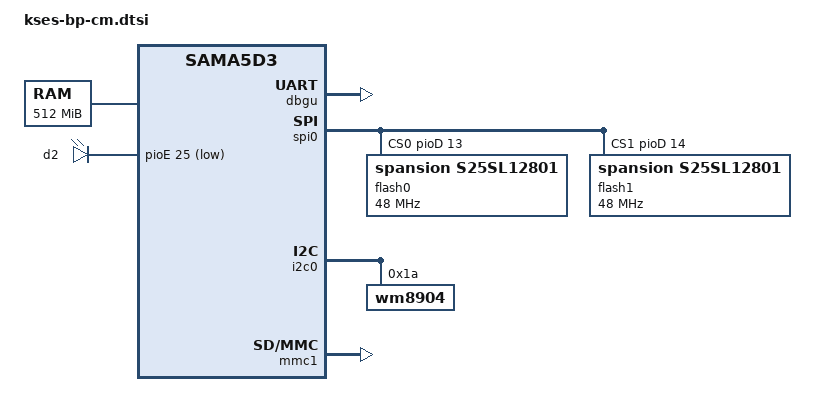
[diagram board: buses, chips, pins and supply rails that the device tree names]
/*
 * kses-bp-cm.dtsi - Device Tree Include file for KSES Bluepenguin CPU Module
 *
 *  Based sama5d3xcm.dtsi by Ludovic Desroches <ludovic.desroches@atmel.com>
 *
 *  Copyright (C) 2016 Keystone Electronic Solution,
 *                2016 John Eigelaar <john@kses.net>
 *
 * Licensed under GPLv2 or later.
 */

/ {
	compatible = "atmel,sama5d3", "atmel,sama5";

	chosen {
			bootargs = "console=ttyS0,115200 earlyprintk root=/dev/mmcblk0p1 rw rootfstype=ext4 root_type=ext4 root_opts=data=journal init=/sbin/init rescue=/dev/mtdblock1";
			stdout-path = "serial0:115200n8";
		};

	memory {
		reg = <0x20000000 0x20000000>;
	};

	clocks {
		slow_xtal {
			clock-frequency = <32768>;
		};

		main_xtal {
			clock-frequency = <12000000>;
		};
	};

	ahb {
		apb {
			dbgu: serial@ffffee00 {
				status = "okay";
			};

			watchdog@fffffe40 {
				status = "okay";
			};
			
			spi0: spi@f0004000 {
				cs-gpios = <&pioD 13 0>, <&pioD 14 0>, <0>, <0>;
				status = "okay";

				flash0: m25p80@0 {	
					#address-cells = <1>;
					#size-cells = <1>;
					compatible = "spansion,s25sl12801";
					spi-max-frequency = <48000000>;
					reg = <0>;
					};

				flash1: m25p80@1 {	
					#address-cells = <1>;
					#size-cells = <1>;
					compatible = "spansion,s25sl12801";
					spi-max-frequency = <48000000>;
					reg = <1>;
					};				
			};


			/*
			 * i2c0 conflicts with ISI:
			 * disable it to allow the use of ISI
			 * can not enable audio when i2c0 disabled
			 */
			i2c0: i2c@f0014000 {
				wm8904: wm8904@1a {
					compatible = "wm8904";
					reg = <0x1a>;
				};
			};

			pinctrl@fffff200 {
				board {
					pinctrl_mmc1_cd: mmc1_cd {
						atmel,pins =
							<1 18 0x0 0x5>; /* PB18 GPIO with pullup deglitch */
					};

					pinctrl_usba_vbus: usba_vbus {
						atmel,pins =
							<3 6 0x0 0x4>; /* PD6 GPIO with deglitch */
					};					

					pinctrl_eth1_int: eth1_int {
						atmel,pins =
							<4 31 0x0 0x4>; /* PE31 GPIO  */
					};
					
					pinctrl_macb0_data_mii: macb0_data_mii {
						atmel,pins =
							<1 0 0x1 0x0	/* PB0 periph A GTX0, conflicts with PWMH0 */
							 1 1 0x1 0x0	/* PB1 periph A GTX1, conflicts with PWML0 */
							 1 2 0x1 0x0	/* PB2 periph A GTX2, conflicts with TK1 */
							 1 3 0x1 0x0	/* PB3 periph A GTX3, conflicts with TF1 */
							 1 4 0x1 0x0	/* PB4 periph A GRX0, conflicts with PWMH1 */
							 1 5 0x1 0x0	/* PB5 periph A GRX1, conflicts with PWML1 */
							 1 6 0x1 0x0	/* PB6 periph A GRX2, conflicts with TD1 */
							 1 7 0x1 0x0>;	/* PB7 periph A GRX3, conflicts with RK1 */
					};

					pinctrl_macb0_signal_mii: macb0_signal_mii {
						atmel,pins =
							<
							1 8 0x1 0x0	/* PB8 periph A GTXCK, conflicts with PWMH2 */
							1 9 0x1 0x0	/* PB9 periph A GTXEN, conflicts with PWML2 */
							1 10 0x1 0x0	/* PB10 periph A GTXER, conflicts with RF1 */
							1 11 0x1 0x0	/* PB11 periph A GRXCK, conflicts with RD1 */
							1 12 0x1 0x0	/* PB12 periph A GRXDV, conflicts with PWMH3 */
							1 13 0x1 0x0	/* PB13 periph A GRXER, conflicts with PWML3 */
							1 14 0x1 0x0	/* PB14 periph A GCRS, conflicts with CANRX1 */
							1 15 0x1 0x0	/* PB15 periph A GCOL, conflicts with CANTX1 */
							1 16 0x1 0x0	/* PB16 periph A GMDC */
							1 17 0x1 0x0>;	/* PB17 periph A GMDIO */							
					};

					
					
				};	
			};
			
			mmc1: mmc@f8000000 {
				pinctrl-names = "default";
				pinctrl-0 = <&pinctrl_mmc1_clk_cmd_dat0 &pinctrl_mmc1_dat1_3 &pinctrl_mmc1_cd>;
				status = "okay";
				slot@0 {
					reg = <0>;
					bus-width = <4>;
					cd-gpios = <&pioB 18 0>;
				};
			};
			
		}; /* APB */

	};

	leds {
		compatible = "gpio-leds";

		d2 {
			label = "d2";
			gpios = <&pioE 25 GPIO_ACTIVE_LOW>;	/* PE25, conflicts with A25, RXD2 */
			linux,default-trigger = "heartbeat";
		};
	};
};
